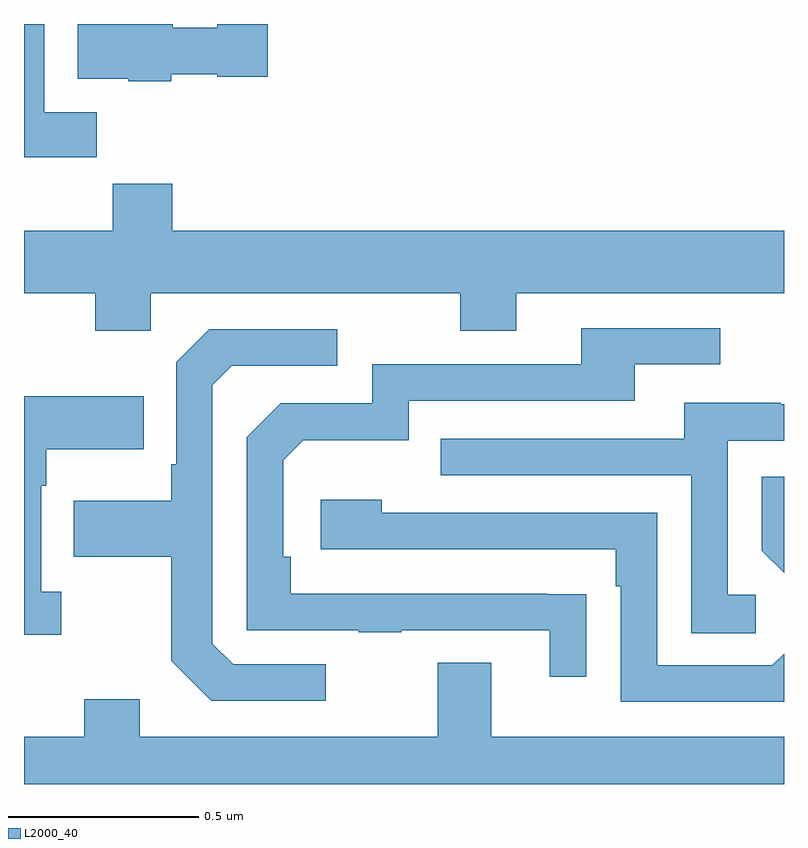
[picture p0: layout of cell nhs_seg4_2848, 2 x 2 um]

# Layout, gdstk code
import gdstk
lib = gdstk.Library(unit=1e-6, precision=1e-09)
def P(c, l, *ps):  # polygons
    for p in ps: c.add(gdstk.Polygon(p, *l))
L2000_40 = (2000, 40)

nhs_seg4_2848 = lib.new_cell('nhs_seg4_2848')
P(nhs_seg4_2848, L2000_40, [(146.388,758.768),(146.508,758.768),(146.508,758.761),(146.641,758.761),(146.641,758.9),(146.508,758.9),(146.508,758.89),(146.392,758.89),(146.392,758.9),(146.141,758.9),(146.141,758.756),(146.274,758.756),(146.274,758.75),(146.388,758.75)],
  [(146.192,758.668),(146.053,758.668),(146.053,758.9),(146,758.9),(146,758.55),(146.192,758.55)],
  [(146.39,758.48),(146.233,758.48),(146.233,758.356),(146,758.356),(146,758.192),(146.188,758.192),(146.188,758.093),(146.334,758.093),(146.334,758.192),(147.148,758.192),(147.148,758.093),(147.295,758.093),(147.295,758.192),(148,758.192),(148,758.356),(146.39,758.356)],
  [(147.479,757.4),(147.377,757.4),(147.377,757.401),(146.702,757.401),(146.702,757.498),(146.682,757.498),(146.682,757.752),(146.735,757.805),(147.012,757.805),(147.012,757.908),(147.607,757.908),(147.607,758.004),(147.832,758.004),(147.832,758.1),(147.467,758.1),(147.467,758.004),(146.916,758.004),(146.916,757.902),(146.676,757.902),(146.586,757.812),(146.586,757.305),(146.881,757.305),(146.881,757.3),(146.993,757.3),(146.993,757.305),(147.383,757.305),(147.383,757.182),(147.479,757.182)],
  [(146.794,757.215),(146.55,757.215),(146.496,757.269),(146.496,757.95),(146.547,758.001),(146.824,758.001),(146.824,758.097),(146.487,758.097),(146.4,758.01),(146.4,757.741),(146.388,757.741),(146.388,757.645),(146.131,757.645),(146.131,757.498),(146.388,757.498),(146.388,757.225),(146.493,757.119),(146.794,757.119)],
  [(146.098,757.406),(146.046,757.406),(146.046,757.685),(146.059,757.685),(146.059,757.781),(146.315,757.781),(146.315,757.921),(146,757.921),(146,757.293),(146.098,757.293)],
  [(147.925,757.398),(147.852,757.398),(147.852,757.803),(148,757.803),(148,757.899),(147.991,757.899),(147.991,757.903),(147.737,757.903),(147.737,757.809),(147.097,757.809),(147.097,757.713),(147.756,757.713),(147.756,757.297),(147.925,757.297)],
  [(148,757.708),(147.942,757.708),(147.942,757.514),(148,757.456)],
  [(148,757.243),(147.969,757.212),(147.666,757.212),(147.666,757.614),(146.942,757.614),(146.942,757.648),(146.781,757.648),(146.781,757.518),(147.557,757.518),(147.557,757.421),(147.57,757.421),(147.57,757.116),(148,757.116)],
  [(148,757.024),(147.229,757.024),(147.229,757.219),(147.089,757.219),(147.089,757.024),(146.305,757.024),(146.305,757.123),(146.158,757.123),(146.158,757.024),(146,757.024),(146,756.9),(148,756.9)])

lib.write_gds('nhs_seg4_2848.gds')
